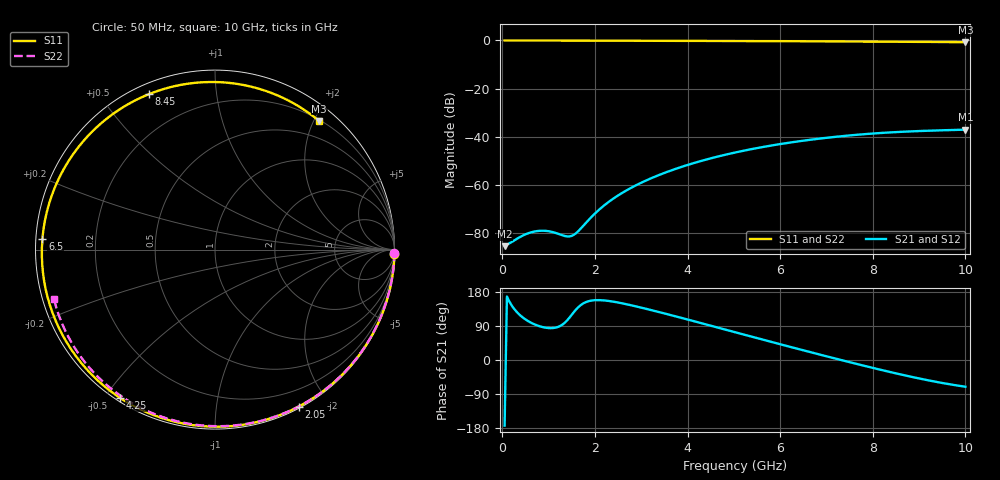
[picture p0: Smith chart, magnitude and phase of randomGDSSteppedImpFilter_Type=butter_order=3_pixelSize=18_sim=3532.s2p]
! freq	dB(S11)	phase(S11)	dB(S12)	phase(S12)
!  dB(S21)	phase(S21)	dB(S22)	phase(S22)
!S-par simulation data
#  GHz  S  DB  R 50
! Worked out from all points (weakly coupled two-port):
!   200 points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, 50 MHz to 10 GHz, reference 50 ohm
!   highest |S21| = -37.00 dB at 10 GHz (marker M1); lowest = -85.3 dB at 50 MHz (marker M2)
!   lowest |S11| = -0.7 dB at 10 GHz (marker M3), VSWR 24.64, Z = 10.9 + j104 ohm
!   |S11| at or under -10 dB: nowhere
!   |S22| runs from -0.5 to 0.0 dB; largest |S21 - S12| = 0
!   S11 on the Smith chart (normalised r, x): 50 MHz: 0, -74; 2.05 GHz: 0.02, -1.66; 4.25 GHz: 0.01, -0.55; 6.5 GHz: 0.02, +0.03; 8.45 GHz: 0.04, +0.66; 10 GHz: 0.22, +2.08
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0.05  -0.00 -1.6  -85.32 -173.3  -85.32 -173.3  -0.00 -0.9
0.55  -0.01 -17.1  -80.04 103.2  -80.04 103.2  -0.01 -10.2
0.75  -0.02 -23.2  -79.07 91.4  -79.07 91.4  -0.01 -13.8
1.55  -0.06 -47.4  -80.55 127.1  -80.55 127.1  -0.04 -28.3
1.6  -0.06 -48.8  -79.82 134.2  -79.82 134.2  -0.04 -29.2
1.75  -0.07 -53.3  -76.86 149.5  -76.86 149.5  -0.04 -31.9
2.05  -0.08 -62.0  -70.89 158.1  -70.89 158.1  -0.05 -37.2
2.65  -0.10 -79.1  -62.53 148.0  -62.53 148.0  -0.06 -47.8
3.4  -0.13 -99.8  -55.68 126.0  -55.68 126.0  -0.08 -60.6
4.25  -0.17 -122.6  -50.21 98.8  -50.21 98.8  -0.11 -74.7
5.05  -0.21 -143.8  -46.38 72.5  -46.38 72.5  -0.13 -87.5
5.8  -0.27 -164.0  -43.61 48.1  -43.61 48.1  -0.17 -99.2
6.5  -0.33 176.3  -41.56 25.6  -41.56 25.6  -0.21 -109.8
6.7  -0.34 170.5  -41.06 19.2  -41.06 19.2  -0.22 -112.8
7.5  -0.42 145.8  -39.39 -5.7  -39.39 -5.7  -0.28 -124.8
7.9  -0.47 132.5  -38.74 -17.9  -38.74 -17.9  -0.31 -130.8
8.35  -0.52 116.7  -38.16 -31.0  -38.16 -31.0  -0.36 -137.5
8.45  -0.53 113.0  -38.06 -33.9  -38.06 -33.9  -0.37 -139.0
8.85  -0.57 97.9  -37.69 -44.8  -37.69 -44.8  -0.41 -145.0
9.25  -0.62 82.1  -37.40 -54.9  -37.40 -54.9  -0.45 -151.1
9.6  -0.66 67.7  -37.20 -62.8  -37.20 -62.8  -0.50 -156.5
10  -0.71 51.0  -37.00 -70.5  -37.00 -70.5  -0.55 -162.8
